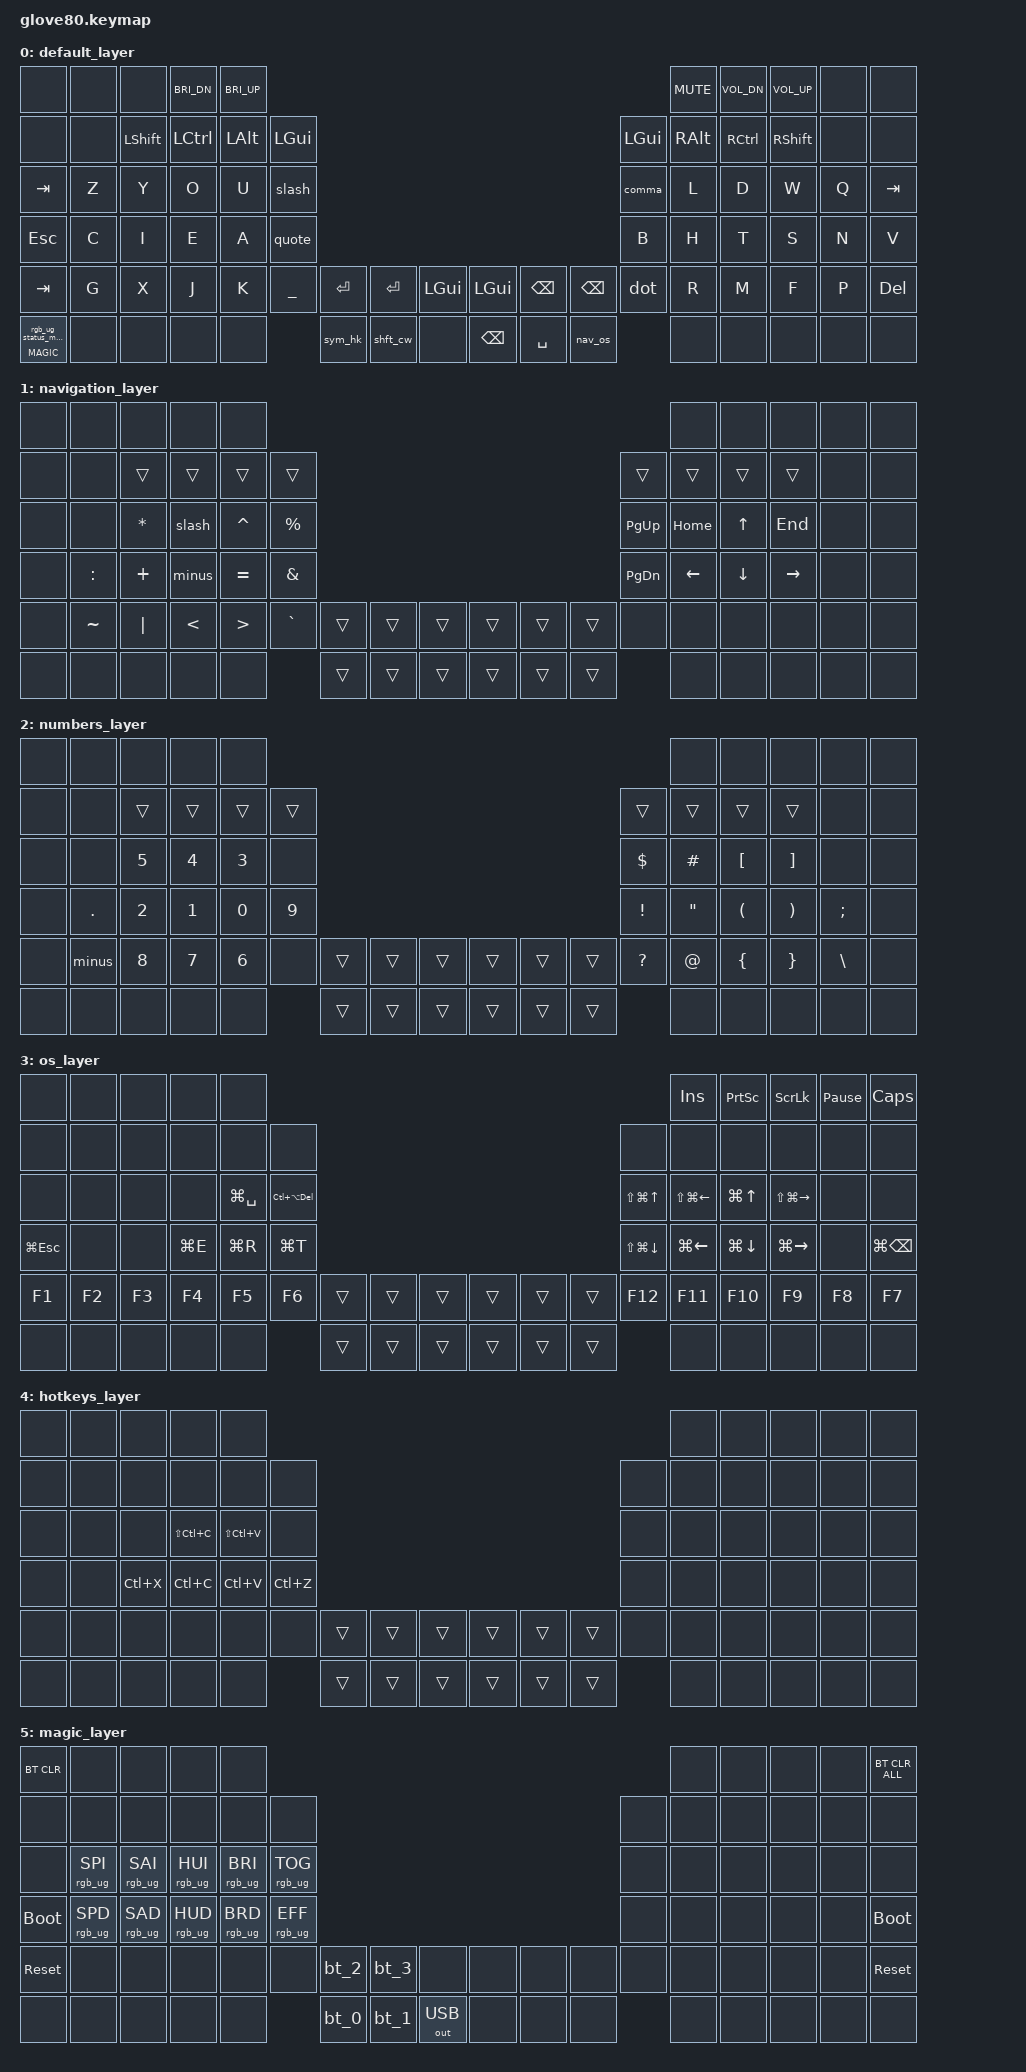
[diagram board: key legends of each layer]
/*
 * Copyright (c) 2020 The ZMK Contributors
 *
 * SPDX-License-Identifier: MIT
 */

#include <behaviors.dtsi>
#include <dt-bindings/zmk/keys.h>
#include <dt-bindings/zmk/bt.h>
#include <dt-bindings/zmk/ext_power.h>
#include <dt-bindings/zmk/outputs.h>
#include <dt-bindings/zmk/rgb.h>

#define HYPER LC(LS(LG(LALT)))

// layers
#define DEFAULT    0
#define NAVIGATION 1
#define NUMBERS    2
#define OS         3
#define HOTKEYS    4
#define MAGIC      5

/ {

behaviors {
    // Press once for ctrl, twice for alt, thrice for ctrl+alt.
    ctrl_alt: tap_dance_0 {
        compatible = "zmk,behavior-tap-dance";
        label = "CTRL_ALT_TAP_DANCE";
        #binding-cells = <0>;
        tapping-term-ms = <350>;
        bindings = <&kp LCTRL>, <&kp LALT>, <&ctrl_and_alt>;
    };

    // Press once for shift, twice for word caps.
    shft_cw: tap_dance_1 {
        compatible = "zmk,behavior-tap-dance";
        label = "SHIFT_CAPS_WORD_TAP_DANCE";
        #binding-cells = <0>;
        tapping-term-ms = <350>;
        bindings = <&kp LSHFT>, <&caps_word>;
    };

    // Press once for symbol/num layer, twice for hotkey layer.
    sym_hk: tap_dance_2 {
        compatible = "zmk,behavior-tap-dance";
        label = "SYM_HOTKEY_TAP_DANCE";
        #binding-cells = <0>;
        tapping-term-ms = <350>;
        bindings = <&mo NUMBERS>, <&mo HOTKEYS>;
    };

    // Press once for nav layer, twice for os layer.
    nav_os: tap_dance_3 {
        compatible = "zmk,behavior-tap-dance";
        label = "NAV_OS_TAP_DANCE";
        #binding-cells = <0>;
        tapping-term-ms = <350>;
        bindings = <&mo NAVIGATION>, <&mo OS>;
    };

    magic: magic_hold_tap {
        compatible = "zmk,behavior-hold-tap";
        label = "MAGIC_HOLD_TAP";
        #binding-cells = <2>;
        flavor = "tap-preferred";
        tapping-term-ms = <200>;
        bindings = <&mo>, <&rgb_ug_status_macro>;
    };

    comma: comma_non_shifting {
        compatible = "zmk,behavior-mod-morph";
        #binding-cells = <0>;
        bindings = <&kp COMMA>, <&kp COMMA>;
        mods = <(MOD_LSFT)>;
    };

    dot: dot_non_shifting {
        compatible = "zmk,behavior-mod-morph";
        #binding-cells = <0>;
        bindings = <&kp DOT>, <&kp DOT>;
        mods = <(MOD_LSFT)>;
    };

    quote: quote_non_shifting {
        compatible = "zmk,behavior-mod-morph";
        #binding-cells = <0>;
        bindings = <&kp SQT>, <&kp SQT>;
        mods = <(MOD_LSFT)>;
    };

    minus: minus_non_shifting {
        compatible = "zmk,behavior-mod-morph";
        #binding-cells = <0>;
        bindings = <&kp MINUS>, <&kp MINUS>;
        mods = <(MOD_LSFT)>;
    };

    slash: slash_non_shifting {
        compatible = "zmk,behavior-mod-morph";
        #binding-cells = <0>;
        bindings = <&kp SLASH>, <&kp SLASH>;
        mods = <(MOD_LSFT)>;
    };
};

macros {
    ctrl_and_alt: ctrl_and_alt {
        label = "CTRL_AND_ALT";
        compatible = "zmk,behavior-macro";
        #binding-cells = <0>;
        bindings
            = <&macro_press &kp LCTRL &kp LALT>,
              <&macro_pause_for_release>,
              <&macro_release &kp LCTRL &kp LALT>;
    };

    rgb_ug_status_macro: rgb_ug_status_macro_0 {
        label = "RGB_UG_STATUS";
        compatible = "zmk,behavior-macro";
        #binding-cells = <0>;
        bindings
            = <&rgb_ug RGB_STATUS>;
    };

    bt_0: bt_profile_macro_0 {
        label = "BT_0";
        compatible = "zmk,behavior-macro";
        #binding-cells = <0>;
        bindings
            = <&out OUT_BLE>,
              <&bt BT_SEL 0>;
    };

    bt_1: bt_profile_macro_1 {
        label = "BT_1";
        compatible = "zmk,behavior-macro";
        #binding-cells = <0>;
        bindings
            = <&out OUT_BLE>,
              <&bt BT_SEL 1>;
    };

    bt_2: bt_profile_macro_2 {
        label = "BT_2";
        compatible = "zmk,behavior-macro";
        #binding-cells = <0>;
        bindings
            = <&out OUT_BLE>,
              <&bt BT_SEL 2>;
    };

    bt_3: bt_profile_macro_3 {
        label = "BT_3";
        compatible = "zmk,behavior-macro";
        #binding-cells = <0>;
        bindings
            = <&out OUT_BLE>,
              <&bt BT_SEL 3>;
    };
};

keymap {

compatible = "zmk,keymap";

default_layer {
    // A modified Engram layout.
    // -----------------------------------------                                                                           ----------------------------------------
    // |       |      |      | BRI_DN | BRI_UP |                                                                           | MUTE | VOL_DN | VOL_UP |      |      |
    // ------------------------------------------------                                                            -----------------------------------------------
    // |       |      | SHIFT | CTRL  | ALT    | SUPER |                                                           | SUPER | ALT  | CTRL   | SHIFT  |      |      |
    // ------------------------------------------------                                                            -----------------------------------------------
    // | TAB   | Z    | Y    | O      | U      | /     |                                                           | ,     | L    | D      | W      | Q    | TAB  |
    // ------------------------------------------------                                                            -----------------------------------------------
    // | ESC   | C    | I    | E      | A      | '     |                                                           | B     | H    | T      | S      | N    | V    |
    // ------------------------------------------------  -----------------------------  -------------------------- -----------------------------------------------
    // | TAB   | G    | X    | J      | K      | _     | | RET    | RET   | SUPER    |  | SUPER | BSPC  | BSPC   | | .     | R    | M      | F      | P    | DEL  |
    // ------------------------------------------------  -----------------------------  -------------------------- -----------------------------------------------
    // | MAGIC |      |      |        |        |         | SYM/HK | SHIFT |          |  | BSPC  | SPACE | NAV/OS |         |      |        |        |      |      |
    // -----------------------------------------         -----------------------------  --------------------------         ----------------------------------------

    bindings = <
    &none           &none   &none       &kp C_BRI_DN   &kp C_BRI_UP                                                                                          &kp C_MUTE   &kp C_VOL_DN   &kp C_VOL_UP   &none   &none
    &none           &none   &kp LSHFT   &kp LCTRL      &kp LALT       &kp LGUI                                                                    &kp LGUI   &kp RALT     &kp RCTRL      &kp RSHFT      &none   &none
    &kp TAB         &kp Z   &kp Y       &kp O          &kp U          &slash                                                                      &comma     &kp L        &kp D          &kp W          &kp Q   &kp TAB
    &kp ESC         &kp C   &kp I       &kp E          &kp A          &quote                                                                      &kp B      &kp H        &kp T          &kp S          &kp N   &kp V
    &kp TAB         &kp G   &kp X       &kp J          &kp K          &kp UNDER   &kp RET  &kp RET   &kp LGUI    &kp LGUI   &kp BSPC   &kp BSPC   &dot       &kp R        &kp M          &kp F          &kp P   &kp DEL
    &magic MAGIC 0  &none   &none       &none          &none                      &sym_hk  &shft_cw  &none       &kp BSPC   &kp SPACE  &nav_os               &none        &none          &none          &none   &none
    >;
};

navigation_layer {
    // Navigation and left symbols.
    // -------------------------------------                                                                    ------------------------------------
    // |       |      |      |      |      |                                                                    |      |     |      |      |       |
    // --------------------------------------------                                                      -------------------------------------------
    // |       |      |      |      |      |      |                                                      |      |      |     |      |      |       |
    // --------------------------------------------                                                      -------------------------------------------
    // |       |      |  *   |  /   |  ^   |  %   |                                                      | PgUp | Home |  ↑  | End  |      |       |
    // --------------------------------------------                                                      -------------------------------------------
    // |       | :    |  +   |  -   |  =   |  &   |                                                      | PgDn |   ←  |  ↓  |  →   |      |       |
    // -------------------------------------------- -------------------------  ------------------------- -------------------------------------------
    // |       | ~    |  |   |  <   |  >   |  `   | | trans | trans | trans |  | trans | trans | trans | |      |      |     |      |      |       |
    // -------------------------------------------- -------------------------  ------------------------- -------------------------------------------
    // |       |      |      |      |      |        | trans | trans | trans |  | trans | trans | trans |        |      |     |      |      |       |
    // -------------------------------------        -------------------------  -------------------------        ------------------------------------

    bindings = <
    &none    &none     &none     &none   &none                                                                             &none      &none     &none      &none  &none
    &none    &none     &trans    &trans  &trans     &trans                                                      &trans     &trans     &trans    &trans     &none  &none
    &none    &none     &kp ASTRK &slash  &kp CARET  &kp PRCNT                                                   &kp PG_UP  &kp HOME   &kp UP    &kp END    &none  &none
    &none    &kp COLON &kp PLUS  &minus  &kp EQUAL  &kp AMPS                                                    &kp PG_DN  &kp LEFT   &kp DOWN  &kp RIGHT  &none  &none
    &none    &kp TILDE &kp PIPE  &kp LT  &kp GT     &kp GRAVE &trans  &trans  &trans   &trans  &trans  &trans   &none      &none      &none     &none      &none  &none
    &none    &none     &none     &none   &none                &trans  &trans  &trans   &trans  &trans  &trans              &none      &none     &none      &none  &none
    >;
};

numbers_layer {
    // Numbers and right symbols.
    // ---------------------------------                                                                  ---------------------------------
    // |       |     |     |     |     |                                                                  |     |     |     |     |       |
    // ---------------------------------------                                                      ---------------------------------------
    // |       |     |     |     |     |     |                                                      |     |     |     |     |     |       |
    // ---------------------------------------                                                      ---------------------------------------
    // |       |     |  5  |  4  |  3  |     |                                                      |  $  |  #  |  [  |  ]  |     |       |
    // ---------------------------------------                                                      ---------------------------------------
    // |       |  .  |  2  |  1  |  0  |  9  |                                                      |  !  |  "  |  (  |  )  |  ;  |       |
    // --------------------------------------- -------------------------  ------------------------- ---------------------------------------
    // |       |  -  |  8  |  7  |  6  |     | | trans | trans | trans |  | trans | trans | trans | |  ?  |  @  |  {  |  }  |  \  |       |
    // --------------------------------------- -------------------------  ------------------------- ---------------------------------------
    // |       |     |     |     |     |       | trans | trans | trans |  | trans | trans | trans |       |     |     |     |     |       |
    // ---------------------------------       -------------------------  -------------------------       ---------------------------------

    bindings = <
    &none  &none    &none      &none     &none                                                                           &none     &none     &none     &none     &none
    &none  &none    &trans     &trans    &trans    &trans                                                      &trans    &trans    &trans    &trans    &none     &none
    &none  &none    &kp N5     &kp N4    &kp N3    &none                                                       &kp DLLR  &kp HASH  &kp LBKT  &kp RBKT  &none     &none
    &none  &kp DOT  &kp N2     &kp N1    &kp N0    &kp N9                                                      &kp EXCL  &kp DQT   &kp LPAR  &kp RPAR  &kp SEMI  &none
    &none  &minus   &kp N8     &kp N7    &kp N6    &none    &trans  &trans  &trans   &trans  &trans  &trans    &kp QMARK &kp AT    &kp LBRC  &kp RBRC  &kp BSLH  &none
    &none  &none    &none      &none     &none              &trans  &trans  &trans   &trans  &trans  &trans              &none     &none     &none     &none     &none
    >;
};

os_layer {
     // --------------------------------------                                                                    ------------------------------------
     // |        |      |      |      |      |                                                                    | Ins  | Prnt | SLck | Paus | Caps |
     // ---------------------------------------------                                                      -------------------------------------------
     // |        |      |      |      |      |      |                                                      |      |      |      |      |      |      |
     // ---------------------------------------------                                                      -------------------------------------------
     // |        |      |      |      | Lang | Mntr |                                                      | W Up | W L  | D Up | W R  |      |      |
     // ---------------------------------------------                                                      -------------------------------------------
     // | Shtdwn |      |      | File | Run  | Term |                                                      | W Dn | D L  | D Dn | D R  |      |      |
     // --------------------------------------------- -------------------------  ------------------------- -------------------------------------------
     // | F1     | F2   | F3   | F4   | F5   | F6   | | trans | trans | trans |  | trans | trans | trans | | F12  | F11  | F10  | F9   | F8   | F7   |
     // --------------------------------------------- -------------------------  ------------------------- -------------------------------------------
     // |        |      |      |      |      |        | trans | trans | trans |  | trans | trans | trans |        |      |      |      |      |      |
     // --------------------------------------        -------------------------  -------------------------        ------------------------------------

     bindings = <
     &none        &none   &none   &none      &none                                                                                              &kp INS           &kp PSCRN     &kp SLCK           &kp PAUSE_BREAK  &kp CAPS
     &none        &none   &none   &none      &none          &none                                                             &none             &none             &none         &none              &none            &none
     &none        &none   &none   &none      &kp LG(SPACE)  &kp LC(LA(DEL))                                                   &kp LS(LG(UP))    &kp LS(LG(LEFT))  &kp LG(UP)    &kp LS(LG(RIGHT))  &none            &none
     &kp LG(ESC)  &none   &none   &kp LG(E)  &kp LG(R)      &kp LG(T)                                                         &kp LS(LG(DOWN))  &kp LG(LEFT)      &kp LG(DOWN)  &kp LG(RIGHT)      &none            &kp LG(BSPC)
     &kp F1       &kp F2  &kp F3  &kp F4     &kp F5         &kp F6           &trans  &trans  &trans   &trans  &trans  &trans  &kp F12           &kp F11           &kp F10       &kp F9             &kp F8           &kp F7
     &none        &none   &none   &none      &none                           &trans  &trans  &trans   &trans  &trans  &trans                    &none             &none         &none              &none            &none
     >;
};

hotkeys_layer {
    // ----------------------------------------------------                                                                      ------------------------------------
    // |      |      |        |             |             |                                                                      |      |      |      |      |      |
    // -------------------------------------------------------------                                                      -------------------------------------------
    // |      |      |        |             |             |        |                                                      |      |      |      |      |      |      |
    // -------------------------------------------------------------                                                      -------------------------------------------
    // |      |      |        | Shft-Ctrl-C | Shft-Ctrl-V |        |                                                      |      |      |      |      |      |      |
    // -------------------------------------------------------------                                                      -------------------------------------------
    // |      |      | Ctrl-X | Ctrl-C      | Ctrl-V      | Ctrl-Z |                                                      |      |      |      |      |      |      |
    // ------------------------------------------------------------- -------------------------  ------------------------- -------------------------------------------
    // |      |      |        |             |             |        | | trans | trans | trans |  | trans | trans | trans | |      |      |      |      |      |      |
    // ------------------------------------------------------------- -------------------------  ------------------------- -------------------------------------------
    // |      |      |        |             |             |          | trans | trans | trans |  | trans | trans | trans |        |      |      |      |      |      |
    // ----------------------------------------------------          -------------------------  -------------------------        ------------------------------------

    bindings = <
    &none   &none   &none     &none         &none                                                                                    &none   &none   &none   &none   &none
    &none   &none   &none     &none         &none          &none                                                             &none   &none   &none   &none   &none   &none
    &none   &none   &none     &kp LS(LC(C)) &kp LS(LC(V))  &none                                                             &none   &none   &none   &none   &none   &none
    &none   &none   &kp LC(X) &kp LC(C)     &kp LC(V)      &kp LC(Z)                                                         &none   &none   &none   &none   &none   &none
    &none   &none   &none     &none         &none          &none     &trans   &trans   &trans     &trans   &trans   &trans   &none   &none   &none   &none   &none   &none
    &none   &none   &none     &none         &none                    &trans   &trans   &trans     &trans   &trans   &trans           &none   &none   &none   &none   &none
    >;
};

magic_layer {
    bindings = <
    &bt BT_CLR        &none               &none           &none           &none                                                                                                           &none      &none      &none      &none      &bt BT_CLR_ALL
    &none             &none               &none           &none           &none           &none                                                                                &none      &none      &none      &none      &none      &none
    &none             &rgb_ug RGB_SPI     &rgb_ug RGB_SAI &rgb_ug RGB_HUI &rgb_ug RGB_BRI &rgb_ug RGB_TOG                                                                      &none      &none      &none      &none      &none      &none
    &bootloader       &rgb_ug RGB_SPD     &rgb_ug RGB_SAD &rgb_ug RGB_HUD &rgb_ug RGB_BRD &rgb_ug RGB_EFF                                                                      &none      &none      &none      &none      &none      &bootloader
    &sys_reset        &none               &none           &none           &none           &none           &bt_2     &bt_3     &none            &none     &none     &none       &none      &none      &none      &none      &none      &sys_reset
    &none             &none               &none           &none           &none                           &bt_0     &bt_1     &out OUT_USB     &none     &none     &none                  &none      &none      &none      &none      &none
    >;
};

// none_layer {
//     // ------------------------------------                                                                    ------------------------------------
//     // |      |      |      |      |      |                                                                    |      |      |      |      |      |
//     // -------------------------------------------                                                      -------------------------------------------
//     // |      |      |      |      |      |      |                                                      |      |      |      |      |      |      |
//     // -------------------------------------------                                                      -------------------------------------------
//     // |      |      |      |      |      |      |                                                      |      |      |      |      |      |      |
//     // -------------------------------------------                                                      -------------------------------------------
//     // |      |      |      |      |      |      |                                                      |      |      |      |      |      |      |
//     // ------------------------------------------- -------------------------  ------------------------- -------------------------------------------
//     // |      |      |      |      |      |      | | trans | trans | trans |  | trans | trans | trans | |      |      |      |      |      |      |
//     // ------------------------------------------- -------------------------  ------------------------- -------------------------------------------
//     // |      |      |      |      |      |        | trans | trans | trans |  | trans | trans | trans |        |      |      |      |      |      |
//     // ------------------------------------        -------------------------  -------------------------        ------------------------------------
//
//     bindings = <
//     &none   &none   &none   &none   &none                                                                           &none   &none   &none   &none   &none
//     &none   &none   &none   &none   &none   &none                                                           &none   &none   &none   &none   &none   &none
//     &none   &none   &none   &none   &none   &none                                                           &none   &none   &none   &none   &none   &none
//     &none   &none   &none   &none   &none   &none                                                           &none   &none   &none   &none   &none   &none
//     &none   &none   &none   &none   &none   &none   &trans   &trans   &trans     &trans   &trans   &trans   &none   &none   &none   &none   &none   &none
//     &none   &none   &none   &none   &none           &trans   &trans   &trans     &trans   &trans   &trans           &none   &none   &none   &none   &none
//     >;
// };

};

};
